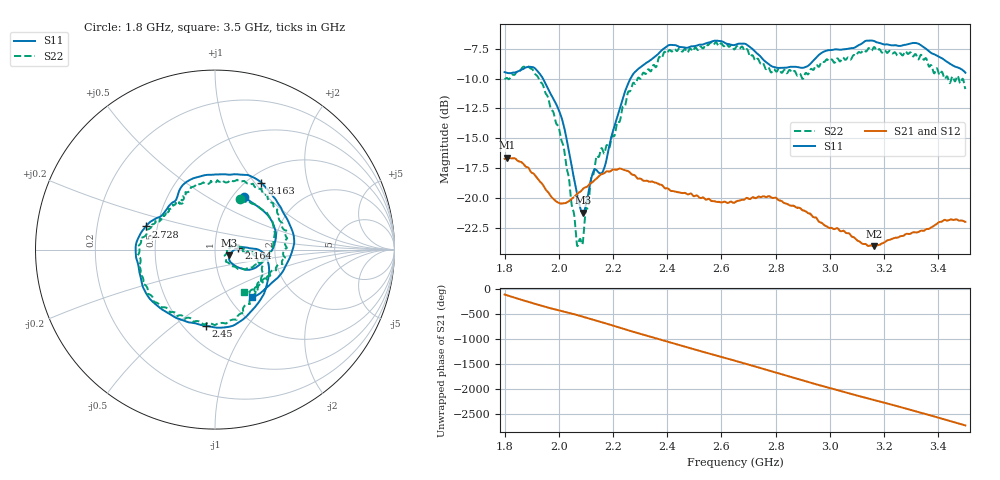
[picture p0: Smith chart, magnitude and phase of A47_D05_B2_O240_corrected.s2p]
! Created with skrf 1.9.0 (http://scikit-rf.org).
# Hz S RI R 50.0
!freq ReS11 ImS11 ReS21 ImS21 ReS12 ImS12 ReS22 ImS22
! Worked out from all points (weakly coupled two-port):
!   1601 points, 1.8 GHz to 3.5 GHz, reference 50 ohm
!   highest |S21| = -16.62 dB at 1.81 GHz (marker M1); lowest = -24.0 dB at 3.162 GHz (marker M2)
!   lowest |S11| = -21.2 dB at 2.089 GHz (marker M3), VSWR 1.19, Z = 58.6 - j3.88 ohm
!   |S11| at or under -10 dB: 1.941 GHz to 2.264 GHz (323 MHz wide, 15.4 % of centre)
!   |S22| runs from -24.0 to -7.0 dB; largest |S21 - S12| = 0.0024
!   S11 on the Smith chart (normalised r, x): 1.8 GHz: 1.12, +0.75; 2.164 GHz: 1.30, +0.02; 2.45 GHz: 0.64, -0.66; 2.728 GHz: 0.43, +0.13; 3.163 GHz: 1.15, +1.08; 3.5 GHz: 1.28, -0.75
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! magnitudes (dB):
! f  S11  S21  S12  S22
! 1.8 GHz  -9.5  -16.7  -16.7  -10.1
! 1.81 GHz  -9.5  -16.6  -16.6  -10.0
! 1.883 GHz  -9.0  -17.4  -17.4  -9.0
! 1.941 GHz  -10.0  -18.9  -18.9  -10.5
! 2.011 GHz  -13.4  -20.4  -20.4  -15.3
! 2.066 GHz  -19.5  -19.7  -19.7  -23.7
! 2.084 GHz  -21.1  -19.4  -19.3  -23.7
! 2.089 GHz  -21.2  -19.2  -19.2  -23.6
! 2.13 GHz  -17.6  -18.5  -18.5  -17.7
! 2.164 GHz  -17.7  -17.9  -17.9  -16.2
! 2.26 GHz  -10.2  -17.8  -17.8  -11.1
! 2.367 GHz  -7.9  -18.8  -18.7  -8.4
! 2.45 GHz  -7.4  -19.5  -19.5  -7.6
! 2.65 GHz  -7.2  -20.3  -20.3  -7.5
! 2.728 GHz  -7.8  -20.0  -20.0  -8.5
! 2.805 GHz  -9.1  -20.0  -20.0  -9.4
! 2.934 GHz  -8.6  -21.5  -21.4  -9.2
! 3.162 GHz  -6.9  -24.0  -23.9  -7.4
! 3.163 GHz  -6.9  -24.0  -23.9  -7.4
! 3.217 GHz  -7.2  -23.5  -23.4  -7.7
! 3.324 GHz  -7.1  -22.8  -22.8  -8.3
! 3.5 GHz  -9.5  -22.0  -21.9  -10.9
